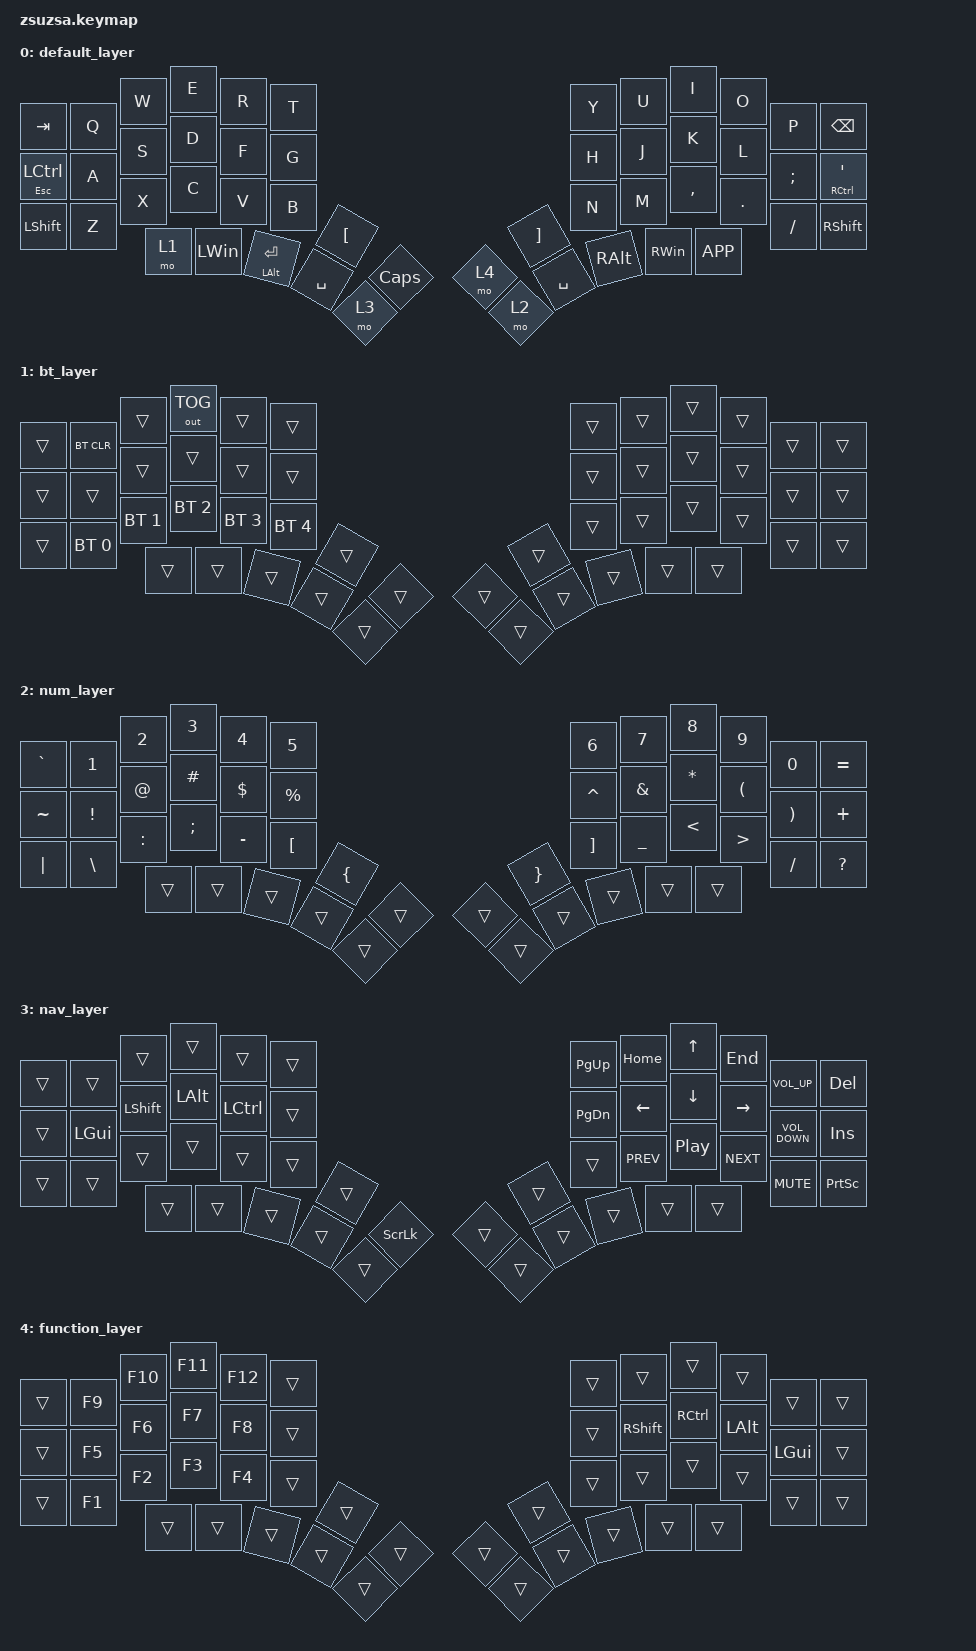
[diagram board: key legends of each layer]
/*
* Copyright (c) 2023 CTDD
* SPDX-License-Identifier: MIT
*/

#include <behaviors.dtsi>
#include <dt-bindings/zmk/keys.h>
#include <dt-bindings/zmk/bt.h>
#include <dt-bindings/zmk/outputs.h>

/ {
    keymap {
        compatible = "zmk,keymap";

        default_layer {
            // ---------------------------------------------------------------------------------------------------------------------------------
            // |  TAB    |  Q  |  W  |  E   |  R   |    T    |                                          |  Y   |  U    |  I    |  O   |   P   | bksp |
            // | ESC/CTRL|  A  |  S  |  D   |  F   |    G    |                                          |  H   |  J    |  K    |  L   |   ;   |"/ctrl|
            // | SHIFT   |  Z  |  X  |  C   |  V   |    B    |   [    |  CAPS    |  |   LAY 4  |  ]     |  N   |  M    |  ,    |  .   |   /   |shft  |
            //                       |LAY 1 | WIN  | ENT/ALT |  SPACE |  LAY 3   |  |   LAY 2  |  SPACE | ALT  | WIN   | APP   |

            bindings = <
	&kp TAB        &kp Q  &kp W  &kp E   &kp R     &kp T                                                                &kp Y          &kp U     &kp I      &kp O    &kp P     &kp BSPC
	&mt ESC LCTRL  &kp A  &kp S  &kp D   &kp F     &kp G                                                                &kp H          &kp J     &kp K      &kp L    &kp SEMI  &mt RCTRL SQT
	&kp LSHFT      &kp Z  &kp X  &kp C   &kp V     &kp B         &kp LEFT_BRACKET  &kp CAPS      &mo 4  &kp RIGHT_BRACKET  &kp N          &kp M     &kp COMMA  &kp DOT  &kp FSLH  &kp RIGHT_SHIFT
								 &mo 1  &kp LWIN  &mt LEFT_ALT ENTER  &kp SPACE    &mo 3         &mo 2  &kp SPACE          &kp RIGHT_ALT  &kp RWIN  &kp K_APP
            >;
        };

        bt_layer {
            bindings = <
	&trans  &bt BT_CLR    &trans        &out OUT_TOG  &trans        &trans                                         &trans  &trans  &trans  &trans  &trans  &trans
	&trans  &trans        &trans        &trans        &trans        &trans                                         &trans  &trans  &trans  &trans  &trans  &trans
	&trans  &bt BT_SEL 0  &bt BT_SEL 1  &bt BT_SEL 2  &bt BT_SEL 3  &bt BT_SEL 4  &trans  &trans  &trans  &trans   &trans  &trans  &trans  &trans  &trans  &trans
										&trans        &trans        &trans        &trans  &trans  &trans  &trans  &trans  &trans  &trans
            >;
        };

        num_layer {
            bindings = <
	&kp GRAVE  &kp NUMBER_1     &kp NUMBER_2  &kp NUMBER_3   &kp NUMBER_4  &kp N5                                                             &kp NUMBER_6       &kp NUMBER_7    &kp NUMBER_8   &kp NUMBER_9          &kp NUMBER_0           &kp EQUAL
	&kp TILDE  &kp EXCLAMATION  &kp AT_SIGN   &kp HASH       &kp DOLLAR    &kp PERCENT                                                        &kp CARET          &kp AMPERSAND   &kp ASTERISK   &kp LEFT_PARENTHESIS  &kp RIGHT_PARENTHESIS  &kp PLUS
	&kp PIPE   &kp BSLH         &kp COLON     &kp SEMICOLON  &kp MINUS     &kp LEFT_BRACKET  &kp LEFT_BRACE  &trans  &trans  &kp RIGHT_BRACE  &kp RIGHT_BRACKET  &kp UNDERSCORE  &kp LESS_THAN  &kp GREATER_THAN      &kp SLASH              &kp QUESTION
											  &trans         &trans        &trans            &trans          &trans  &trans  &trans           &trans             &trans          &trans
            >;
        };

        nav_layer {
            bindings = <
	&trans  &trans    &trans     &trans    &trans     &trans                                          &kp PG_UP  &kp HOME    &kp UP            &kp END     &kp C_VOLUME_UP    &kp DELETE
	&trans  &kp LGUI  &kp LSHFT  &kp LALT  &kp LCTRL  &trans                                          &kp PG_DN  &kp LEFT    &kp DOWN          &kp RIGHT   &kp C_VOLUME_DOWN  &kp INSERT
	&trans  &trans    &trans     &trans    &trans     &trans  &trans  &kp SCROLLLOCK  &trans  &trans  &trans     &kp C_PREV  &kp C_PLAY_PAUSE  &kp C_NEXT  &kp C_MUTE         &kp PRINTSCREEN
								 &trans    &trans     &trans  &trans  &trans          &trans  &trans  &trans     &trans      &trans
            >;
        };

        function_layer {
            bindings = <
	&trans  &kp F9  &kp F10  &kp F11  &kp F12  &trans                                  &trans  &trans     &trans     &trans    &trans    &trans
	&trans  &kp F5  &kp F6   &kp F7   &kp F8   &trans                                  &trans  &kp RSHFT  &kp RCTRL  &kp LALT  &kp LGUI  &trans
	&trans  &kp F1  &kp F2   &kp F3   &kp F4   &trans  &trans  &trans  &trans  &trans  &trans  &trans     &trans     &trans    &trans    &trans
							 &trans   &trans   &trans  &trans  &trans  &trans  &trans  &trans  &trans     &trans
            >;
        };
    };
};
